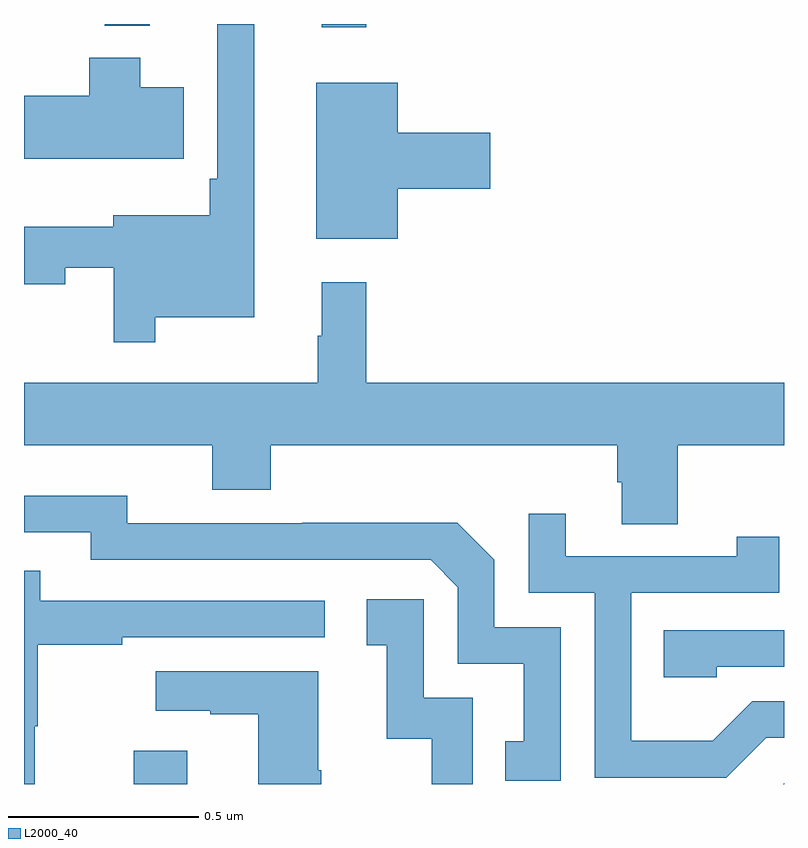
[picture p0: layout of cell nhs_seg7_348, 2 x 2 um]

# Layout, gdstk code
import gdstk
lib = gdstk.Library(unit=1e-6, precision=1e-09)
def R(c, l, rs):  # rectangles x0, y0, x1, y1
    for r in rs: c.add(gdstk.rectangle(r[:2], r[2:], *l))
def P(c, l, *ps):  # polygons
    for p in ps: c.add(gdstk.Polygon(p, *l))
L2000_40 = (2000, 40)

nhs_seg7_348 = lib.new_cell('nhs_seg7_348')
R(nhs_seg7_348, L2000_40, [(115.289,1057,115.429,1057.087), (115.784,1058.991,115.901,1059), (115.213,1058.996,115.331,1059)])
P(nhs_seg7_348, L2000_40, [(115.345,1058.228),(115.606,1058.228),(115.606,1059),(115.509,1059),(115.509,1058.593),(115.489,1058.593),(115.489,1058.497),(115.235,1058.497),(115.235,1058.467),(115,1058.467),(115,1058.315),(115.108,1058.315),(115.108,1058.358),(115.236,1058.358),(115.236,1058.163),(115.345,1058.163)],
  [(115.42,1058.833),(115.306,1058.833),(115.306,1058.911),(115.172,1058.911),(115.172,1058.811),(115,1058.811),(115,1058.645),(115.42,1058.645)],
  [(115.984,1058.567),(116.227,1058.567),(116.227,1058.714),(115.984,1058.714),(115.984,1058.845),(115.769,1058.845),(115.769,1058.435),(115.984,1058.435)],
  [(116.721,1057.892),(117,1057.892),(117,1058.056),(115.901,1058.056),(115.901,1058.32),(115.784,1058.32),(115.784,1058.18),(115.773,1058.18),(115.773,1058.056),(115,1058.056),(115,1057.892),(115.496,1057.892),(115.496,1057.775),(115.649,1057.775),(115.649,1057.892),(116.561,1057.892),(116.561,1057.794),(116.573,1057.794),(116.573,1057.684),(116.721,1057.684)],
  [(116.412,1057.413),(116.238,1057.413),(116.238,1057.59),(116.14,1057.688),(115.732,1057.688),(115.732,1057.686),(115.272,1057.686),(115.272,1057.759),(115,1057.759),(115,1057.662),(115.176,1057.662),(115.176,1057.59),(116.07,1057.59),(116.142,1057.518),(116.142,1057.317),(116.315,1057.317),(116.315,1057.113),(116.266,1057.113),(116.266,1057.008),(116.412,1057.008)],
  [(116.953,1057.122),(117,1057.122),(117,1057.218),(116.916,1057.218),(116.812,1057.114),(116.598,1057.114),(116.598,1057.503),(116.987,1057.503),(116.987,1057.651),(116.876,1057.651),(116.876,1057.599),(116.425,1057.599),(116.425,1057.711),(116.328,1057.711),(116.328,1057.503),(116.502,1057.503),(116.502,1057.017),(116.848,1057.017)],
  [(115.028,1057.152),(115.036,1057.152),(115.036,1057.366),(115.259,1057.366),(115.259,1057.386),(115.792,1057.386),(115.792,1057.482),(115.043,1057.482),(115.043,1057.561),(115,1057.561),(115,1057),(115.028,1057)],
  [(116.181,1057.227),(116.052,1057.227),(116.052,1057.486),(115.902,1057.486),(115.902,1057.365),(115.955,1057.365),(115.955,1057.119),(116.073,1057.119),(116.073,1057),(116.181,1057)],
  [(116.823,1057.308),(117,1057.308),(117,1057.404),(116.683,1057.404),(116.683,1057.281),(116.823,1057.281)],
  [(115.782,1057.036),(115.774,1057.036),(115.774,1057.297),(115.347,1057.297),(115.347,1057.193),(115.49,1057.193),(115.49,1057.183),(115.616,1057.183),(115.616,1057),(115.782,1057)],
  [(117,1057.002),(116.998,1057),(117,1057)])

lib.write_gds('nhs_seg7_348.gds')
